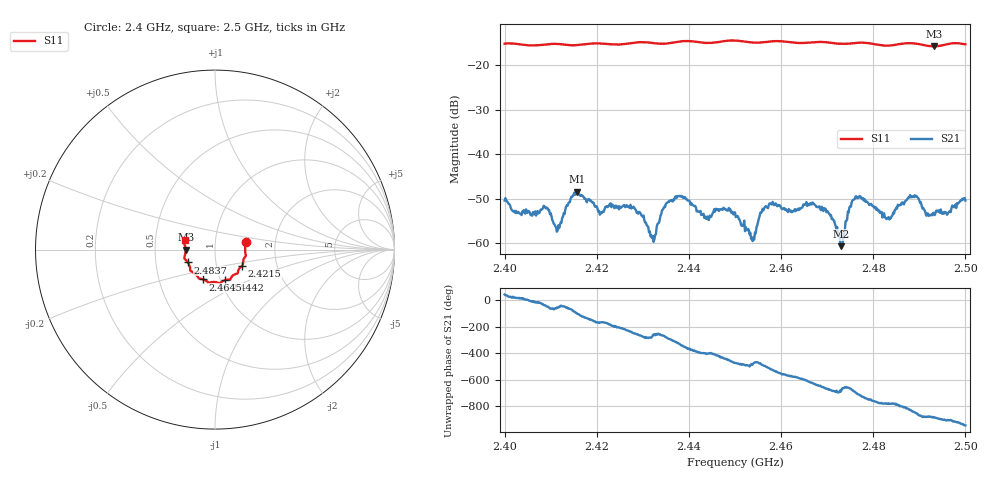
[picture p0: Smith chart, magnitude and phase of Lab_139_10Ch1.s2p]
# Hz S RI R 50
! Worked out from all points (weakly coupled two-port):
!   601 points, 2.4 GHz to 2.5 GHz, reference 50 ohm
!   highest |S21| = -48.43 dB at 2.4157 GHz (marker M1); lowest = -60.7 dB at 2.473 GHz (marker M2)
!   lowest |S11| = -15.7 dB at 2.4932 GHz (marker M3), VSWR 1.39, Z = 35.9 - j0.0431 ohm
!   |S11| at or under -10 dB: start of sweep to end of sweep
!   S12 and S22 are empty: the file has one direction only
!   S11 on the Smith chart (normalised r, x): 2.4 GHz: 1.41, +0.12; 2.4215 GHz: 1.33, -0.25; 2.4442 GHz: 1.05, -0.37; 2.4645 GHz: 0.83, -0.29; 2.4837 GHz: 0.73, -0.11; 2.5 GHz: 0.71, +0.07
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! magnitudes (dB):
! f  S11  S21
! 2.4 GHz  -15.1  -50.4
! 2.4115 GHz  -15.2  -57.2
! 2.4157 GHz  -15.4  -48.4
! 2.4167 GHz  -15.3  -49.3
! 2.4215 GHz  -15.1  -52.9
! 2.4278 GHz  -14.9  -52.0
! 2.4322 GHz  -15.0  -58.3
! 2.4333 GHz  -15.1  -55.5
! 2.4375 GHz  -14.7  -49.4
! 2.4442 GHz  -15.0  -54.7
! 2.45 GHz  -14.4  -53.1
! 2.4537 GHz  -14.8  -58.9
! 2.4578 GHz  -14.6  -51.2
! 2.4645 GHz  -15.0  -52.0
! 2.4667 GHz  -14.8  -51.3
! 2.473 GHz  -15.2  -60.7
! 2.4767 GHz  -14.9  -49.8
! 2.4833 GHz  -15.6  -54.1
! 2.4837 GHz  -15.5  -54.3
! 2.4885 GHz  -15.0  -49.6
! 2.4932 GHz  -15.7  -53.1
! 2.5 GHz  -15.3  -50.4
